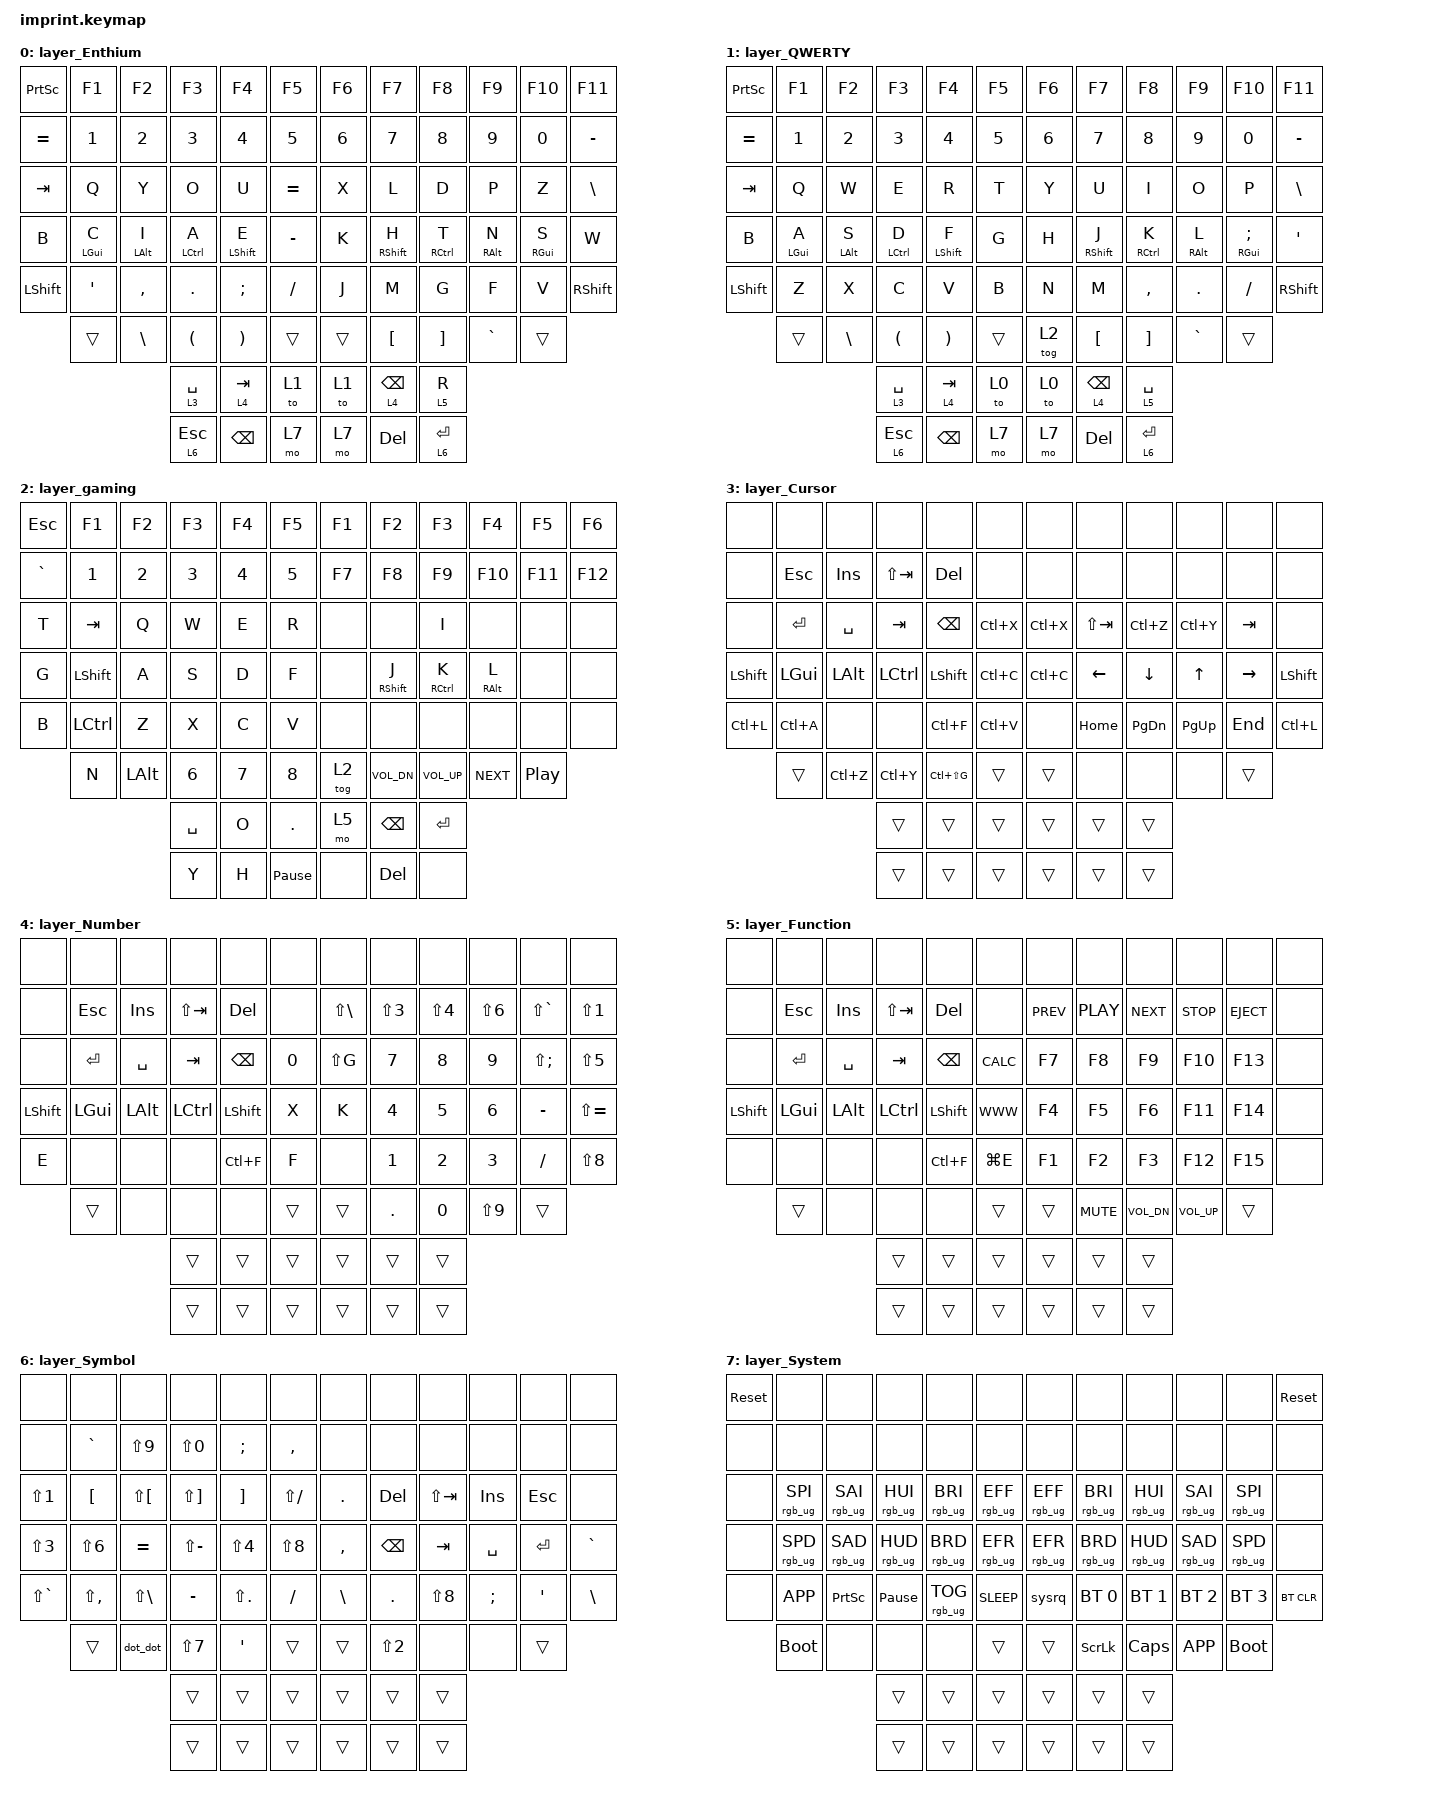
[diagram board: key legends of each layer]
#include <input/processors.dtsi>
#include <dt-bindings/zmk/input_transform.h>
#include <behaviors.dtsi>
#include <dt-bindings/zmk/bt.h>
#include <dt-bindings/zmk/keys.h>
#include <dt-bindings/zmk/rgb.h>

/ {
    // ========================================================================
    // ADVANCED BEHAVIORS (Adapted from Sunaku's "Glorious Engrammer")
    // ========================================================================

    behaviors {
// 1. HOME ROW MODS (HRM) - BILATERAL COMBINATIONS
        // Sunaku's "Difficulty Level 2" translates to roughly 200ms tap terms 
        // with a 150ms streak decay. This ensures that at 90wpm, rolling keys 
        // won't accidentally trigger a Shift or Ctrl.

        hm_l: homerow_mods_left {
            compatible = "zmk,behavior-hold-tap";
            label = "HOMEROW_MODS_LEFT";
            #binding-cells = <2>;
            flavor = "tap-preferred";
            tapping-term-ms = <200>;
            quick-tap-ms = <150>;
            require-prior-idle-ms = <150>;

            // NOTE: To make this strictly bilateral (only fires when you press 
            // a key on the opposite hand), you must define your right hand key positions.
            // hold-trigger-key-positions = < 6 7 8 ... >; 

            bindings = <&kp>, <&kp>;
    };

        hm_r: homerow_mods_right {
            compatible = "zmk,behavior-hold-tap";
            label = "HOMEROW_MODS_RIGHT";
            #binding-cells = <2>;
            flavor = "tap-preferred";
            tapping-term-ms = <200>;
            quick-tap-ms = <150>;
            require-prior-idle-ms = <150>;

            // hold-trigger-key-positions = < 0 1 2 ... >; // Map to left hand keys

            bindings = <&kp>, <&kp>;
        };

        // 2. THUMB LAYER ACCESS
        // Thumbs use a "balanced" flavor so that if you press a thumb and a key
        // almost simultaneously, it still registers as a layer shift.

        thumb: thumb_layer_access {
            compatible = "zmk,behavior-hold-tap";
            label = "THUMB_LAYER";
            #binding-cells = <2>;
            flavor = "balanced";
            tapping-term-ms = <200>;
            quick-tap-ms = <150>;
            bindings = <&mo>, <&kp>;
        };

        // 3. ONE-SHOT STICKY KEYS
        // For fast capitalization without holding shift. Tap once for next key, 
        // tap twice to lock.

        skq: sticky_key_quick_release {
            compatible = "zmk,behavior-sticky-key";
            label = "STICKY_KEY_QUICK";
            #binding-cells = <1>;
            bindings = <&kp>;
            release-after-ms = <500>;
            quick-release;
            ignore-modifiers;
        };

        // 4. SMART CAPS WORD
        // Automatically turns off caps when you hit space or a non-word character.

        smart_caps: caps_word {
            compatible = "zmk,behavior-caps-word";
            label = "SMART_CAPS";
            #binding-cells = <0>;
            continue-list = <UNDERSCORE MINUS BSPC DEL N1 N2 N3 N4 N5 N6 N7 N8 N9 N0>;
        };
    };

    // ========================================================================
    // MACROS (Rolling bigrams and OS functions)
    // ========================================================================

    macros {
dot_dot: dot_dot {
            compatible = "zmk,behavior-macro";
            label = "DOT_DOT";
            #binding-cells = <0>;
            wait-ms = <0>;
            tap-ms = <0>;
            bindings = <&kp DOT &kp DOT>;
    };

        // Windows/Linux Magic SysReq

        sysrq: linux_magic_sysrq {
            compatible = "zmk,behavior-macro";
            label = "SYSRQ";
            #binding-cells = <0>;
            wait-ms = <0>;
            tap-ms = <0>;
            bindings =
                <&macro_press>,
                <&kp LALT>,
                <&macro_tap>,
                <&kp PSCRN>,
                <&macro_release>,
                <&kp LALT>;
        };
    };

    // ========================================================================
    // KEYMAP LAYERS
    // ========================================================================

    chosen { zmk,matrix-transform = &imprint_function_row_full_bottom_row; };

    keymap {
        compatible = "zmk,keymap";

        layer_Enthium {
            bindings = <
&kp PSCRN  &kp F1  &kp F2  &kp F3  &kp F4  &kp F5  &kp F6  &kp F7  &kp F8  &kp F9  &kp F10  &kp F11
&kp EQUAL  &kp N1  &kp N2  &kp N3  &kp N4  &kp N5  &kp N6  &kp N7  &kp N8  &kp N9  &kp N0  &kp MINUS
&kp TAB  &kp Q  &kp Y  &kp O  &kp U  &kp EQUAL  &kp X  &kp L  &kp D  &kp P  &kp Z  &kp BSLH
&kp B  &hm_l LGUI C  &hm_l LALT I  &hm_l LCTRL A  &hm_l LSHFT E  &kp MINUS  &kp K  &hm_r RSHFT H  &hm_r RCTRL T  &hm_r RALT N  &hm_r RGUI S  &kp W
&kp LSHFT  &kp SQT  &kp COMMA  &kp DOT  &kp SEMI  &kp FSLH  &kp J  &kp M  &kp G  &kp F  &kp V  &kp RSHFT
&trans  &kp BSLH  &kp LPAR  &kp RPAR  &trans  &trans  &kp LBKT  &kp RBKT  &kp GRAVE  &trans
&thumb 3 SPACE  &thumb 4 TAB  &to 1  &to 1  &thumb 4 BSPC  &thumb 5 R
&thumb 6 ESC  &kp BSPC  &mo 7  &mo 7  &kp DEL  &thumb 6 RET
            >;
        };

        layer_QWERTY {
            bindings = <
&kp PSCRN  &kp F1  &kp F2  &kp F3  &kp F4  &kp F5  &kp F6  &kp F7  &kp F8  &kp F9  &kp F10  &kp F11
&kp EQUAL  &kp N1  &kp N2  &kp N3  &kp N4  &kp N5  &kp N6  &kp N7  &kp N8  &kp N9  &kp N0  &kp MINUS
&kp TAB  &kp Q  &kp W  &kp E  &kp R  &kp T  &kp Y  &kp U  &kp I  &kp O  &kp P  &kp BSLH
&kp B  &hm_l LGUI A  &hm_l LALT S  &hm_l LCTRL D  &hm_l LSHFT F  &kp G  &kp H  &hm_r RSHFT J  &hm_r RCTRL K  &hm_r RALT L  &hm_r RGUI SEMI  &kp SQT
&kp LSHFT  &kp Z  &kp X  &kp C  &kp V  &kp B  &kp N  &kp M  &kp COMMA  &kp DOT  &kp FSLH  &kp RSHFT
&trans  &kp BSLH  &kp LPAR  &kp RPAR  &trans  &tog 2  &kp LBKT  &kp RBKT  &kp GRAVE  &trans
&thumb 3 SPACE  &thumb 4 TAB  &to 0  &to 0  &thumb 4 BSPC  &thumb 5 SPACE
&thumb 6 ESC  &kp BSPC  &mo 7  &mo 7  &kp DEL  &thumb 6 RET
            >;
        };

        layer_gaming {
            bindings = <
&kp ESCAPE  &kp F1  &kp F2  &kp F3  &kp F4  &kp F5  &kp F1  &kp F2  &kp F3  &kp F4  &kp F5  &kp F6
&kp GRAVE  &kp N1  &kp N2  &kp N3  &kp N4  &kp N5  &kp F7  &kp F8  &kp F9  &kp F10  &kp F11  &kp F12
&kp T  &kp TAB  &kp Q  &kp W  &kp E  &kp R  &none  &none  &kp I  &none  &none  &none
&kp G  &kp LEFT_SHIFT  &kp A  &kp S  &kp D  &kp F  &none  &hm_r RSHFT J  &hm_r RCTRL K  &hm_r RALT L  &none  &none
&kp B  &kp LEFT_CONTROL  &kp Z  &kp X  &kp C  &kp V  &none  &none  &none  &none  &none  &none
&kp N  &kp LEFT_ALT  &kp NUMBER_6  &kp N7  &kp NUMBER_8  &tog 2  &kp C_VOL_DN  &kp C_VOL_UP  &kp C_NEXT  &kp C_PLAY_PAUSE
&kp SPACE  &kp O  &kp DOT  &mo 5  &kp BACKSPACE  &kp ENTER
&kp Y  &kp H  &kp PAUSE_BREAK  &none  &kp DEL  &none
            >;
        };

        layer_Cursor {
            bindings = <
&none  &none  &none  &none  &none  &none  &none  &none  &none  &none  &none  &none
&none  &kp ESC  &kp INS  &kp LS(TAB)  &kp DEL  &none  &none  &none  &none  &none  &none  &none
&none  &kp RET  &kp SPACE  &kp TAB  &kp BSPC  &kp LC(X)  &kp LC(X)  &kp LS(TAB)  &kp LC(Z)  &kp LC(Y)  &kp TAB  &none
&kp LSHFT  &kp LGUI  &kp LALT  &kp LCTRL  &kp LSHFT  &kp LC(C)  &kp LC(C)  &kp LEFT  &kp DOWN  &kp UP  &kp RIGHT  &kp LSHFT
&kp LC(L)  &kp LC(A)  &none  &none  &kp LC(F)  &kp LC(V)  &none  &kp HOME  &kp PG_DN  &kp PG_UP  &kp END  &kp LC(L)
&trans  &kp LC(Z)  &kp LC(Y)  &kp LC(LS(G))  &trans  &trans  &none  &none  &none  &trans
&trans  &trans  &trans  &trans  &trans  &trans
&trans  &trans  &trans  &trans  &trans  &trans
            >;
        };

        layer_Number {
            bindings = <
&none  &none  &none  &none  &none  &none  &none  &none  &none  &none  &none  &none
&none  &kp ESC  &kp INS  &kp LS(TAB)  &kp DEL  &none  &kp LS(BSLH)  &kp LS(N3)  &kp LS(N4)  &kp LS(N6)  &kp LS(GRAVE)  &kp LS(N1)
&none  &kp RET  &kp SPACE  &kp TAB  &kp BSPC  &kp N0  &kp LS(G)  &kp N7  &kp N8  &kp N9  &kp LS(SEMI)  &kp LS(N5)
&kp LSHFT  &kp LGUI  &kp LALT  &kp LCTRL  &kp LSHFT  &kp X  &kp K  &kp N4  &kp N5  &kp N6  &kp MINUS  &kp LS(EQUAL)
&kp E  &none  &none  &none  &kp LC(F)  &kp F  &none  &kp N1  &kp N2  &kp N3  &kp FSLH  &kp LS(N8)
&trans  &none  &none  &none  &trans  &trans  &kp DOT  &kp N0  &kp LS(N9)  &trans
&trans  &trans  &trans  &trans  &trans  &trans
&trans  &trans  &trans  &trans  &trans  &trans
            >;
        };

        layer_Function {
            bindings = <
&none  &none  &none  &none  &none  &none  &none  &none  &none  &none  &none  &none
&none  &kp ESC  &kp INS  &kp LS(TAB)  &kp DEL  &none  &kp C_PREV  &kp C_PLAY  &kp C_NEXT  &kp C_STOP  &kp C_EJECT  &none
&none  &kp RET  &kp SPACE  &kp TAB  &kp BSPC  &kp K_CALC  &kp F7  &kp F8  &kp F9  &kp F10  &kp F13  &none
&kp LSHFT  &kp LGUI  &kp LALT  &kp LCTRL  &kp LSHFT  &kp K_WWW  &kp F4  &kp F5  &kp F6  &kp F11  &kp F14  &none
&none  &none  &none  &none  &kp LC(F)  &kp LG(E)  &kp F1  &kp F2  &kp F3  &kp F12  &kp F15  &none
&trans  &none  &none  &none  &trans  &trans  &kp C_MUTE  &kp C_VOL_DN  &kp C_VOL_UP  &trans
&trans  &trans  &trans  &trans  &trans  &trans
&trans  &trans  &trans  &trans  &trans  &trans
            >;
        };

        layer_Symbol {
            bindings = <
&none  &none  &none  &none  &none  &none  &none  &none  &none  &none  &none  &none
&none  &kp GRAVE  &kp LS(N9)  &kp LS(N0)  &kp SEMI  &kp COMMA  &none  &none  &none  &none  &none  &none
&kp LS(N1)  &kp LBKT  &kp LS(LBKT)  &kp LS(RBKT)  &kp RBKT  &kp LS(FSLH)  &kp DOT  &kp DEL  &kp LS(TAB)  &kp INS  &kp ESC  &none
&kp LS(N3)  &kp LS(N6)  &kp EQUAL  &kp LS(MINUS)  &kp LS(N4)  &kp LS(N8)  &kp COMMA  &kp BSPC  &kp TAB  &kp SPACE  &kp RET  &kp GRAVE
&kp LS(GRAVE)  &kp LS(COMMA)  &kp LS(BSLH)  &kp MINUS  &kp LS(DOT)  &kp FSLH  &kp BSLH  &kp DOT  &kp LS(N8)  &kp SEMI  &kp SQT  &kp BSLH
&trans  &dot_dot  &kp LS(N7)  &kp SQT  &trans  &trans  &kp LS(N2)  &none  &none  &trans
&trans  &trans  &trans  &trans  &trans  &trans
&trans  &trans  &trans  &trans  &trans  &trans
            >;
        };

        layer_System {
            bindings = <
&sys_reset  &none  &none  &none  &none  &none  &none  &none  &none  &none  &none  &sys_reset
&none  &none  &none  &none  &none  &none  &none  &none  &none  &none  &none  &none
&none  &rgb_ug RGB_SPI  &rgb_ug RGB_SAI  &rgb_ug RGB_HUI  &rgb_ug RGB_BRI  &rgb_ug RGB_EFF  &rgb_ug RGB_EFF  &rgb_ug RGB_BRI  &rgb_ug RGB_HUI  &rgb_ug RGB_SAI  &rgb_ug RGB_SPI  &none
&none  &rgb_ug RGB_SPD  &rgb_ug RGB_SAD  &rgb_ug RGB_HUD  &rgb_ug RGB_BRD  &rgb_ug RGB_EFR  &rgb_ug RGB_EFR  &rgb_ug RGB_BRD  &rgb_ug RGB_HUD  &rgb_ug RGB_SAD  &rgb_ug RGB_SPD  &none
&none  &kp K_APP  &kp PSCRN  &kp PAUSE_BREAK  &rgb_ug RGB_TOG  &kp C_SLEEP  &sysrq  &bt BT_SEL 0  &bt BT_SEL 1  &bt BT_SEL 2  &bt BT_SEL 3  &bt BT_CLR
&bootloader  &none  &none  &none  &trans  &trans  &kp SLCK  &kp CAPS  &kp K_APP  &bootloader
&trans  &trans  &trans  &trans  &trans  &trans
&trans  &trans  &trans  &trans  &trans  &trans
            >;
        };
    };
};
